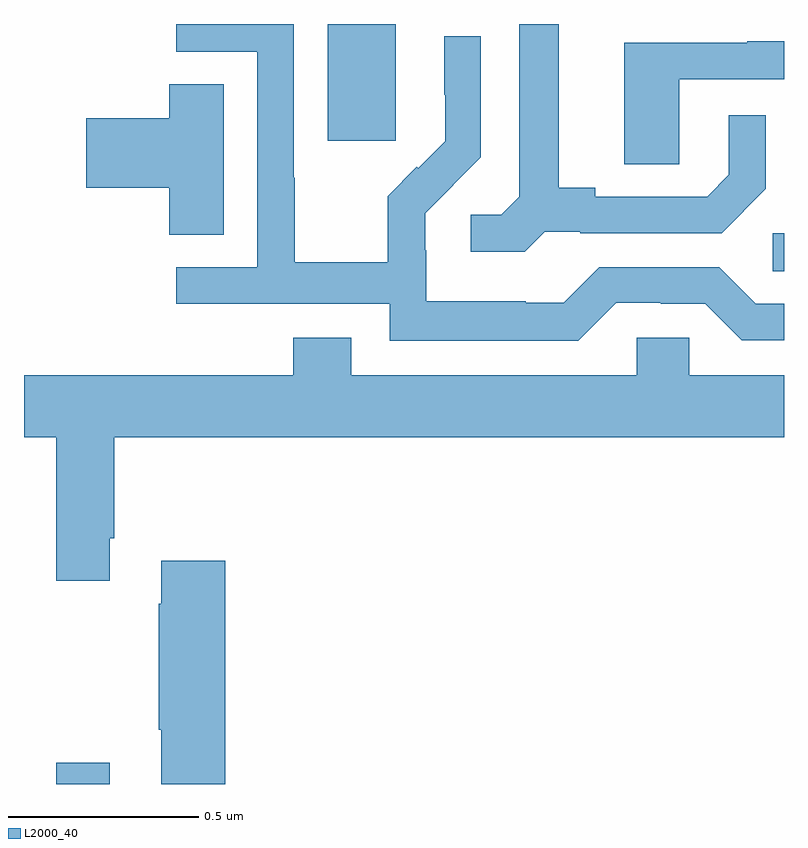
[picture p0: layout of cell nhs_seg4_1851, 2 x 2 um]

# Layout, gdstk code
import gdstk
lib = gdstk.Library(unit=1e-6, precision=1e-09)
def R(c, l, rs):  # rectangles x0, y0, x1, y1
    for r in rs: c.add(gdstk.rectangle(r[:2], r[2:], *l))
def P(c, l, *ps):  # polygons
    for p in ps: c.add(gdstk.Polygon(p, *l))
L2000_40 = (2000, 40)

nhs_seg4_1851 = lib.new_cell('nhs_seg4_1851')
R(nhs_seg4_1851, L2000_40, [(133.085,803.9,133.225,803.956), (134.97,805.249,135,805.35), (133.799,805.593,133.978,805.9)])
P(nhs_seg4_1851, L2000_40, [(134.37,805.353),(134.464,805.353),(134.464,805.35),(134.836,805.35),(134.952,805.466),(134.952,805.66),(134.855,805.66),(134.855,805.503),(134.798,805.446),(134.503,805.446),(134.503,805.469),(134.407,805.469),(134.407,805.9),(134.303,805.9),(134.303,805.445),(134.256,805.398),(134.175,805.398),(134.175,805.301),(134.318,805.301)],
  [(134.559,805.167),(134.675,805.167),(134.675,805.164),(134.793,805.164),(134.889,805.068),(135,805.068),(135,805.164),(134.925,805.164),(134.829,805.26),(134.514,805.26),(134.421,805.167),(134.321,805.167),(134.321,805.171),(134.058,805.171),(134.058,805.305),(134.056,805.305),(134.056,805.402),(134.13,805.476),(134.129,805.477),(134.202,805.55),(134.202,805.868),(134.106,805.868),(134.106,805.714),(134.108,805.714),(134.108,805.592),(134.037,805.521),(134.034,805.524),(133.957,805.447),(133.957,805.273),(133.713,805.273),(133.713,805.496),(133.71,805.496),(133.71,805.9),(133.401,805.9),(133.401,805.827),(133.614,805.827),(133.614,805.26),(133.401,805.26),(133.401,805.164),(133.962,805.164),(133.962,805.067),(134.459,805.067)],
  [(134.724,805.755),(135,805.755),(135,805.855),(134.903,805.855),(134.903,805.851),(134.579,805.851),(134.579,805.531),(134.724,805.531)],
  [(133.525,805.742),(133.382,805.742),(133.382,805.652),(133.164,805.652),(133.164,805.469),(133.382,805.469),(133.382,805.345),(133.525,805.345)],
  [(133.225,804.547),(133.238,804.547),(133.238,804.812),(135,804.812),(135,804.976),(134.751,804.976),(134.751,805.074),(134.613,805.074),(134.613,804.976),(133.861,804.976),(133.861,805.075),(133.709,805.075),(133.709,804.976),(133,804.976),(133,804.812),(133.085,804.812),(133.085,804.435),(133.225,804.435)],
  [(133.529,804.487),(133.361,804.487),(133.361,804.374),(133.354,804.374),(133.354,804.043),(133.361,804.043),(133.361,803.9),(133.529,803.9)])

lib.write_gds('nhs_seg4_1851.gds')
